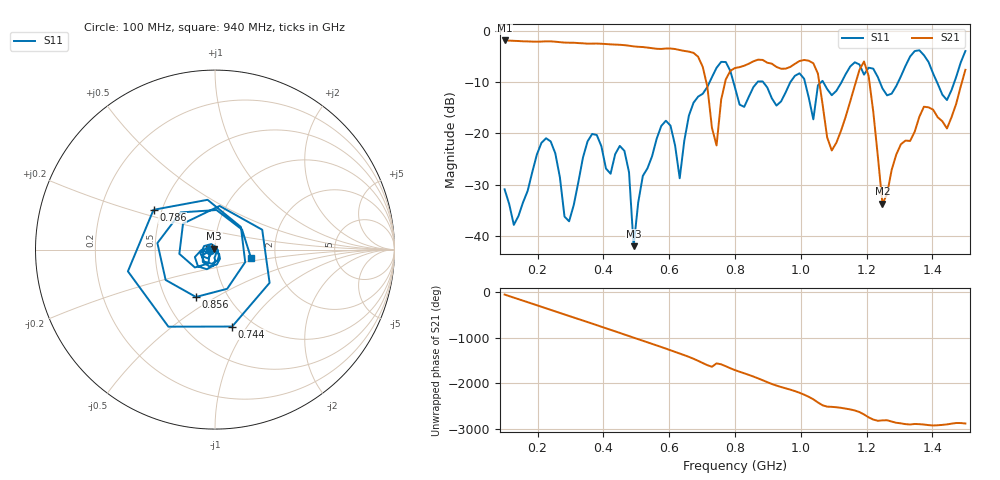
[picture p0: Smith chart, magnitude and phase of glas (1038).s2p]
! NanoVNA-App
! Date: 2025-09-25 16:03:33
! Start: 100MHz Stop: 1,5GHz Points: 101
! S-Parameter data: F S11 S21 S12 S22
# Hz S RI R 50
!  Frequency  S11_Real  S11_Imag  S21_Real  S21_Imag  S12_Real  S12_Imag  S22_Real  S22_Imag
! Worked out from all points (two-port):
!   101 points, 100 MHz to 1.5 GHz, reference 50 ohm
!   highest |S21| = -1.80 dB at 100 MHz (marker M1); lowest = -33.7 dB at 1.248 GHz (marker M2)
!   |S21| within 3 dB of the highest: start of sweep to 684.4 MHz
!   lowest |S11| = -42.0 dB at 492 MHz (marker M3), VSWR 1.02, Z = 49.5 + j0.602 ohm
!   |S11| at or under -10 dB: start of sweep to 722.5 MHz; 795.5 MHz to 867.7 MHz (72.17 MHz wide, 8.68 % of centre); 886.2 MHz to 967.8 MHz (81.6 MHz wide, 8.8 % of centre) (the widest 3 of 7)
!   S12 and S22 are empty: the file has one direction only
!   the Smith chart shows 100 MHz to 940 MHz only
!   S11 on the Smith chart (normalised r, x): 100 MHz: 0.94, -0.01; 744 MHz: 0.81, -0.86; 786 MHz: 0.45, +0.24; 856 MHz: 0.71, -0.41; 940 MHz: 1.49, -0.15
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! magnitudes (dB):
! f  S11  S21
! 100 MHz  -30.9  -1.8
! 128 MHz  -37.9  -1.9
! 226 MHz  -20.9  -2.0
! 296 MHz  -37.2  -2.2
! 338 MHz  -24.7  -2.4
! 464 MHz  -23.4  -2.7
! 492 MHz  -42.0  -3.0
! 576 MHz  -18.5  -3.5
! 632 MHz  -28.8  -3.7
! 702 MHz  -12.2  -7.0
! 744 MHz  -7.1  -22.3
! 786 MHz  -7.8  -7.7
! 800 MHz  -11.0  -7.2
! 856 MHz  -10.9  -5.9
! 940 MHz  -13.7  -7.3
! 1.038 GHz  -17.2  -6.3
! 1.094 GHz  -12.5  -23.3
! 1.192 GHz  -8.5  -5.9
! 1.248 GHz  -11.2  -33.7
! 1.276 GHz  -12.2  -27.1
! 1.444 GHz  -13.5  -19.0
! 1.5 GHz  -3.9  -7.5
